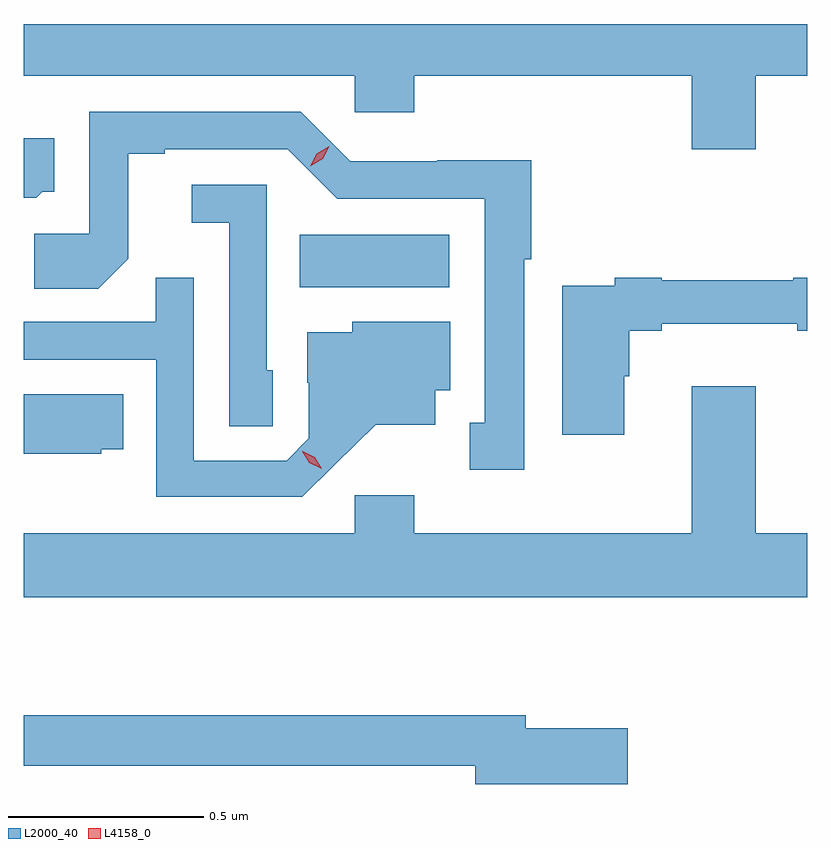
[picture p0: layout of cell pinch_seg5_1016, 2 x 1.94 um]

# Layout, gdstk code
import gdstk
lib = gdstk.Library(unit=1e-6, precision=1e-09)
def R(c, l, rs):  # rectangles x0, y0, x1, y1
    for r in rs: c.add(gdstk.rectangle(r[:2], r[2:], *l))
def P(c, l, *ps):  # polygons
    for p in ps: c.add(gdstk.Polygon(p, *l))
L2000_40 = (2000, 40)
L4158_0 = (4158, 0)

pinch_seg5_1016 = lib.new_cell('pinch_seg5_1016')
R(pinch_seg5_1016, L2000_40, [(739.432,914.828,739.813,914.962)])
P(pinch_seg5_1016, L2000_40, [(740.596,915.368),(740.727,915.368),(740.727,915.5),(738.727,915.5),(738.727,915.368),(739.572,915.368),(739.572,915.275),(739.724,915.275),(739.724,915.368),(740.432,915.368),(740.432,915.18),(740.596,915.18)],
  [(740.005,914.899),(740.023,914.899),(740.023,915.152),(739.782,915.152),(739.782,915.15),(739.56,915.15),(739.434,915.276),(738.894,915.276),(738.894,914.964),(738.753,914.964),(738.753,914.824),(738.917,914.824),(738.993,914.9),(738.993,915.168),(739.087,915.168),(739.087,915.18),(739.401,915.18),(739.527,915.054),(739.904,915.054),(739.904,914.481),(739.865,914.481),(739.865,914.361),(740.005,914.361)],
  [(738.774,915.072),(738.805,915.072),(738.805,915.208),(738.727,915.208),(738.727,915.056),(738.758,915.056)],
  [(739.362,914.616),(739.347,914.616),(739.347,915.09),(739.155,915.09),(739.155,914.993),(739.251,914.993),(739.251,914.473),(739.362,914.473)],
  [(739.522,914.375),(739.625,914.477),(739.777,914.477),(739.777,914.564),(739.816,914.564),(739.816,914.74),(739.566,914.74),(739.566,914.713),(739.451,914.713),(739.451,914.584),(739.455,914.584),(739.455,914.442),(739.398,914.385),(739.161,914.385),(739.161,914.852),(739.063,914.852),(739.063,914.739),(738.727,914.739),(738.727,914.643),(739.065,914.643),(739.065,914.292),(739.438,914.292)],
  [(740.26,914.601),(740.273,914.601),(740.273,914.716),(740.356,914.716),(740.356,914.735),(740.702,914.735),(740.702,914.716),(740.727,914.716),(740.727,914.852),(740.692,914.852),(740.692,914.845),(740.356,914.845),(740.356,914.852),(740.236,914.852),(740.236,914.832),(740.102,914.832),(740.102,914.451),(740.26,914.451)],
  [(740.727,914.2),(740.596,914.2),(740.596,914.575),(740.432,914.575),(740.432,914.2),(739.724,914.2),(739.724,914.296),(739.572,914.296),(739.572,914.2),(738.727,914.2),(738.727,914.036),(740.727,914.036)],
  [(738.924,914.414),(738.98,914.414),(738.98,914.554),(738.727,914.554),(738.727,914.402),(738.924,914.402)],
  [(740.269,913.701),(740.008,913.701),(740.008,913.735),(738.727,913.735),(738.727,913.606),(739.88,913.606),(739.88,913.559),(740.269,913.559)])
P(pinch_seg5_1016, L4158_0, [(739.458,915.137),(739.458,915.137),(739.475,915.169),(739.507,915.188),(739.507,915.188),(739.507,915.188),(739.49,915.156),(739.458,915.137)],
  [(739.487,914.364),(739.456,914.379),(739.438,914.409),(739.438,914.409),(739.439,914.409),(739.47,914.394),(739.487,914.364),(739.487,914.364)])

lib.write_gds('pinch_seg5_1016.gds')
